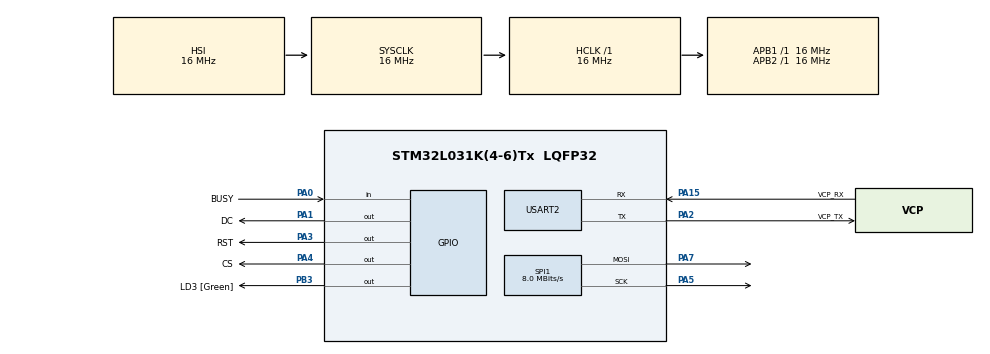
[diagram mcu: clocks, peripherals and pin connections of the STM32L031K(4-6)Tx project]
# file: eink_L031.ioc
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Mcu.Family=STM32L0
Mcu.Name=STM32L031K(4-6)Tx
Mcu.Package=LQFP32
PA0-CK_IN.GPIO_Label=BUSY
PA0-CK_IN.Signal=GPIO_Input
PA1.GPIO_Label=DC
PA1.Signal=GPIO_Output
PA13.GPIO_Label=TMS
PA13.Mode=Serial_Wire
PA13.Signal=SYS_SWDIO
PA14.GPIO_Label=TCK
PA14.Mode=Serial_Wire
PA14.Signal=SYS_SWCLK
PA15.GPIO_Label=VCP_RX
PA15.Mode=Asynchronous
PA15.Signal=USART2_RX
PA2.GPIO_Label=VCP_TX
PA2.Mode=Asynchronous
PA2.Signal=USART2_TX
PA3.GPIO_Label=RST
PA3.Signal=GPIO_Output
PA4.GPIO_Label=CS
PA4.PinState=GPIO_PIN_SET
PA4.Signal=GPIO_Output
PA5.Mode=TX_Only_Simplex_Unidirect_Master
PA5.Signal=SPI1_SCK
PA7.Mode=TX_Only_Simplex_Unidirect_Master
PA7.Signal=SPI1_MOSI
PB3.GPIO_Label=LD3 [Green]
PB3.Signal=GPIO_Output
PC14-OSC32_IN.Signal=RCC_OSC32_IN
PC15-OSC32_OUT.Signal=RCC_OSC32_OUT
ProjectManager.HeapSize=0x200
ProjectManager.StackSize=0x400
ProjectManager.TargetToolchain=Makefile
RCC.AHBFreq_Value=16000000
RCC.APB1Freq_Value=16000000
RCC.APB1TimFreq_Value=16000000
RCC.APB2Freq_Value=16000000
RCC.APB2TimFreq_Value=16000000
RCC.HCLKFreq_Value=16000000
RCC.HSE_VALUE=8000000
RCC.HSI16_VALUE=16000000
RCC.HSI48_VALUE=48000000
RCC.HSI_VALUE=16000000
RCC.LSE_VALUE=32768
RCC.MSI_VALUE=2097000
RCC.PLLDIV=RCC_PLLDIV_4
RCC.PLLMUL=RCC_PLLMUL_4
RCC.SYSCLKFreq_VALUE=16000000
RCC.SYSCLKSource=RCC_SYSCLKSOURCE_HSI
RCC.VCOOutputFreq_Value=64000000
SPI1.CalculateBaudRate=8.0 MBits/s
SPI1.Direction=SPI_DIRECTION_2LINES
SPI1.Mode=SPI_MODE_MASTER
SPI1.VirtualType=VM_MASTER
USART2.VirtualMode-Asynchronous=VM_ASYNC
board=NUCLEO-L031K6

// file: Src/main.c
/**
  ******************************************************************************
  * File Name          : main.c
  * Description        : Main program body
  ******************************************************************************
  ** This notice applies to any and all portions of this file
  * that are not between comment pairs USER CODE BEGIN and
  * USER CODE END. Other portions of this file, whether
  * inserted by the user or by software development tools
  * are owned by their respective copyright owners.
  *
  * COPYRIGHT(c) 2017 STMicroelectronics
  *
  * Redistribution and use in source and binary forms, with or without modification,
  * are permitted provided that the following conditions are met:
  *   1. Redistributions of source code must retain the above copyright notice,
  *      this list of conditions and the following disclaimer.
  *   2. Redistributions in binary form must reproduce the above copyright notice,
  *      this list of conditions and the following disclaimer in the documentation
  *      and/or other materials provided with the distribution.
  *   3. Neither the name of STMicroelectronics nor the names of its contributors
  *      may be used to endorse or promote products derived from this software
  *      without specific prior written permission.
  *
  * THIS SOFTWARE IS PROVIDED BY THE COPYRIGHT HOLDERS AND CONTRIBUTORS "AS IS"
  * AND ANY EXPRESS OR IMPLIED WARRANTIES, INCLUDING, BUT NOT LIMITED TO, THE
  * IMPLIED WARRANTIES OF MERCHANTABILITY AND FITNESS FOR A PARTICULAR PURPOSE ARE
  * DISCLAIMED. IN NO EVENT SHALL THE COPYRIGHT HOLDER OR CONTRIBUTORS BE LIABLE
  * FOR ANY DIRECT, INDIRECT, INCIDENTAL, SPECIAL, EXEMPLARY, OR CONSEQUENTIAL
  * DAMAGES (INCLUDING, BUT NOT LIMITED TO, PROCUREMENT OF SUBSTITUTE GOODS OR
  * SERVICES; LOSS OF USE, DATA, OR PROFITS; OR BUSINESS INTERRUPTION) HOWEVER
  * CAUSED AND ON ANY THEORY OF LIABILITY, WHETHER IN CONTRACT, STRICT LIABILITY,
  * OR TORT (INCLUDING NEGLIGENCE OR OTHERWISE) ARISING IN ANY WAY OUT OF THE USE
  * OF THIS SOFTWARE, EVEN IF ADVISED OF THE POSSIBILITY OF SUCH DAMAGE.
  *
  ******************************************************************************
  */
#include "main.h"
#include "stm32l0xx_hal.h"
#include "stm32l0xx_ll_spi.h"

/* USER CODE BEGIN Includes */
#include "Display_EPD_W21.h"
#include "GDEW075T8.h"
#include "image_data.h"

/* USER CODE END Includes */

SPI_HandleTypeDef hspi1;

UART_HandleTypeDef huart2;

/* USER CODE BEGIN PV */
/* Private variables ---------------------------------------------------------*/

/* USER CODE END PV */

void SystemClock_Config(void);
static void MX_GPIO_Init(void);
static void MX_SPI1_Init(void);
static void MX_USART2_UART_Init(void);

/* USER CODE BEGIN PFP */
/* Private function prototypes -----------------------------------------------*/

/* USER CODE END PFP */

/* USER CODE BEGIN 0 */
int eInk_Demo(void)
{
    unsigned int m;

    /*
    EPD_init_Full();
    HAL_Delay(300);

    printf("1st pic\r\n");
    EPD_Dis_Full((unsigned char *)first, 1); // pic
    printf("done\r\n");
    HAL_Delay(5000);
    printf("2nd pic\r\n");
    EPD_Dis_Full((unsigned char *)second, 2); //    pic
    printf("done\r\n");
    HAL_Delay(5000);

    printf("3rd pic\r\n");
    EPD_Dis_Full((unsigned char *)third, 3); // pic
    printf("done\r\n");
    HAL_Delay(5000);

    printf("logo\r\n");
    EPD_Dis_Full((unsigned char *)logo, 4); //  pic
    printf("done\r\n");
    HAL_Delay(5000);

    printf("part\r\n");
    EPD_init_Part();
    HAL_Delay(300);
    for (m = 0; m < 9; m++){
        EPD_Dis_Part(0, 31, 0, 63, (unsigned char *)&Num[m], 1);
        HAL_Delay(200);
        // HAL_GPIO_WritePin(GPIOB, LD_3_Pin, m & 1);
    }
    */

    while (1) {
        EPD_init_Part();
        HAL_Delay(300);
        printf("demo\r\n");
        m=0xff;
        EPD_Dis_Part(0,xDot-1,0,yDot-1,(unsigned char *)&m,0);   //all white
//  HAL_Delay(DELAYTIME);
        EPD_Dis_Part(0, xDot - 1, 0, yDot - 1, (unsigned char *)first, 1); //pic
//  HAL_Delay(DELAYTIME);

        for (m = 0; m < 9; m++){
            EPD_Dis_Part(0, 31, 0, 63, (unsigned char *)&Num[m], 1);
            HAL_Delay(200);

            // HAL_GPIO_WritePin(GPIOB, LD_3_Pin, m & 1);
        }

        // EPD_init_Full();
        // HAL_Delay(300);
        // m = 0xff;
        // EPD_Dis_Full((unsigned char *)&m, 0); //all white
        // HAL_Delay(DELAYTIME);
    }
}
void GDEW075T8_Demo(void)
{
  GDE_Start();
  GDE_ShowDemo();
  GDE_Stop();
}
/* USER CODE END 0 */

int main(void)
{

  /* MCU Configuration----------------------------------------------------------*/

  /* Reset of all peripherals, Initializes the Flash interface and the Systick. */
  HAL_Init();

  /* Configure the system clock */
  SystemClock_Config();

  /* Initialize all configured peripherals */
  MX_GPIO_Init();
  MX_SPI1_Init();
  MX_USART2_UART_Init();

  /* USER CODE BEGIN 2 */
  LL_SPI_Enable (SPI1);
  printf("startup\r\n");
  // eInk_Demo();
  GDEW075T8_Demo();

  /* USER CODE END 2 */

  /* Infinite loop */
  while (1)
  {

  /* USER CODE BEGIN 3 */

  }
  return 0;
  /* USER CODE END 3 */

}

/** System Clock Configuration
*/
void SystemClock_Config(void)
{

  RCC_OscInitTypeDef RCC_OscInitStruct;
  RCC_ClkInitTypeDef RCC_ClkInitStruct;
  RCC_PeriphCLKInitTypeDef PeriphClkInit;

    /**Configure the main internal regulator output voltage
    */
  __HAL_PWR_VOLTAGESCALING_CONFIG(PWR_REGULATOR_VOLTAGE_SCALE1);

    /**Initializes the CPU, AHB and APB busses clocks
    */
  RCC_OscInitStruct.OscillatorType = RCC_OSCILLATORTYPE_HSI;
  RCC_OscInitStruct.HSIState = RCC_HSI_ON;
  RCC_OscInitStruct.HSICalibrationValue = 16;
  RCC_OscInitStruct.PLL.PLLState = RCC_PLL_NONE;
  if (HAL_RCC_OscConfig(&RCC_OscInitStruct) != HAL_OK)
  {
    _Error_Handler(__FILE__, __LINE__);
  }

    /**Initializes the CPU, AHB and APB busses clocks
    */
  RCC_ClkInitStruct.ClockType = RCC_CLOCKTYPE_HCLK|RCC_CLOCKTYPE_SYSCLK
                              |RCC_CLOCKTYPE_PCLK1|RCC_CLOCKTYPE_PCLK2;
  RCC_ClkInitStruct.SYSCLKSource = RCC_SYSCLKSOURCE_HSI;
  RCC_ClkInitStruct.AHBCLKDivider = RCC_SYSCLK_DIV1;
  RCC_ClkInitStruct.APB1CLKDivider = RCC_HCLK_DIV1;
  RCC_ClkInitStruct.APB2CLKDivider = RCC_HCLK_DIV1;

  if (HAL_RCC_ClockConfig(&RCC_ClkInitStruct, FLASH_LATENCY_0) != HAL_OK)
  {
    _Error_Handler(__FILE__, __LINE__);
  }

  PeriphClkInit.PeriphClockSelection = RCC_PERIPHCLK_USART2;
  PeriphClkInit.Usart2ClockSelection = RCC_USART2CLKSOURCE_PCLK1;
  if (HAL_RCCEx_PeriphCLKConfig(&PeriphClkInit) != HAL_OK)
  {
    _Error_Handler(__FILE__, __LINE__);
  }

    /**Configure the Systick interrupt time
    */
  HAL_SYSTICK_Config(HAL_RCC_GetHCLKFreq()/1000);

    /**Configure the Systick
    */
  HAL_SYSTICK_CLKSourceConfig(SYSTICK_CLKSOURCE_HCLK);

  /* SysTick_IRQn interrupt configuration */
  HAL_NVIC_SetPriority(SysTick_IRQn, 0, 0);
}

/* SPI1 init function */
static void MX_SPI1_Init(void)
{

  hspi1.Instance = SPI1;
  hspi1.Init.Mode = SPI_MODE_MASTER;
  hspi1.Init.Direction = SPI_DIRECTION_2LINES;
  hspi1.Init.DataSize = SPI_DATASIZE_8BIT;
  hspi1.Init.CLKPolarity = SPI_POLARITY_LOW;
  hspi1.Init.CLKPhase = SPI_PHASE_1EDGE;
  hspi1.Init.NSS = SPI_NSS_SOFT;
  hspi1.Init.BaudRatePrescaler = SPI_BAUDRATEPRESCALER_2;
  hspi1.Init.FirstBit = SPI_FIRSTBIT_MSB;
  hspi1.Init.TIMode = SPI_TIMODE_DISABLE;
  hspi1.Init.CRCCalculation = SPI_CRCCALCULATION_DISABLE;
  hspi1.Init.CRCPolynomial = 7;
  if (HAL_SPI_Init(&hspi1) != HAL_OK)
  {
    _Error_Handler(__FILE__, __LINE__);
  }

}

/* USART2 init function */
static void MX_USART2_UART_Init(void)
{

  huart2.Instance = USART2;
  huart2.Init.BaudRate = 115200;
  huart2.Init.WordLength = UART_WORDLENGTH_7B;
  huart2.Init.StopBits = UART_STOPBITS_1;
  huart2.Init.Parity = UART_PARITY_NONE;
  huart2.Init.Mode = UART_MODE_TX_RX;
  huart2.Init.HwFlowCtl = UART_HWCONTROL_NONE;
  huart2.Init.OverSampling = UART_OVERSAMPLING_16;
  huart2.Init.OneBitSampling = UART_ONE_BIT_SAMPLE_DISABLE;
  huart2.AdvancedInit.AdvFeatureInit = UART_ADVFEATURE_NO_INIT;
  if (HAL_UART_Init(&huart2) != HAL_OK)
  {
    _Error_Handler(__FILE__, __LINE__);
  }

}

/** Configure pins as
        * Analog
        * Input
        * Output
        * EVENT_OUT
        * EXTI
*/
static void MX_GPIO_Init(void)
{

  GPIO_InitTypeDef GPIO_InitStruct;

  /* GPIO Ports Clock Enable */
  __HAL_RCC_GPIOC_CLK_ENABLE();
  __HAL_RCC_GPIOA_CLK_ENABLE();
  __HAL_RCC_GPIOB_CLK_ENABLE();

  /*Configure GPIO pin Output Level */
  HAL_GPIO_WritePin(GPIOA, DC_Pin|RST_Pin, GPIO_PIN_RESET);

  /*Configure GPIO pin Output Level */
  HAL_GPIO_WritePin(CS_GPIO_Port, CS_Pin, GPIO_PIN_SET);

  /*Configure GPIO pin Output Level */
  HAL_GPIO_WritePin(LD3_GPIO_Port, LD3_Pin, GPIO_PIN_RESET);

  /*Configure GPIO pin : BUSY_Pin */
  GPIO_InitStruct.Pin = BUSY_Pin;
  GPIO_InitStruct.Mode = GPIO_MODE_INPUT;
  GPIO_InitStruct.Pull = GPIO_NOPULL;
  HAL_GPIO_Init(BUSY_GPIO_Port, &GPIO_InitStruct);

  /*Configure GPIO pins : DC_Pin RST_Pin CS_Pin */
  GPIO_InitStruct.Pin = DC_Pin|RST_Pin|CS_Pin;
  GPIO_InitStruct.Mode = GPIO_MODE_OUTPUT_PP;
  GPIO_InitStruct.Pull = GPIO_NOPULL;
  GPIO_InitStruct.Speed = GPIO_SPEED_FREQ_LOW;
  HAL_GPIO_Init(GPIOA, &GPIO_InitStruct);

  /*Configure GPIO pin : LD3_Pin */
  GPIO_InitStruct.Pin = LD3_Pin;
  GPIO_InitStruct.Mode = GPIO_MODE_OUTPUT_PP;
  GPIO_InitStruct.Pull = GPIO_NOPULL;
  GPIO_InitStruct.Speed = GPIO_SPEED_FREQ_LOW;
  HAL_GPIO_Init(LD3_GPIO_Port, &GPIO_InitStruct);

}

void _Error_Handler(char * file, int line)
{
  while(1)
  {
  }
}

/************************ (C) COPYRIGHT STMicroelectronics *****END OF FILE****/
